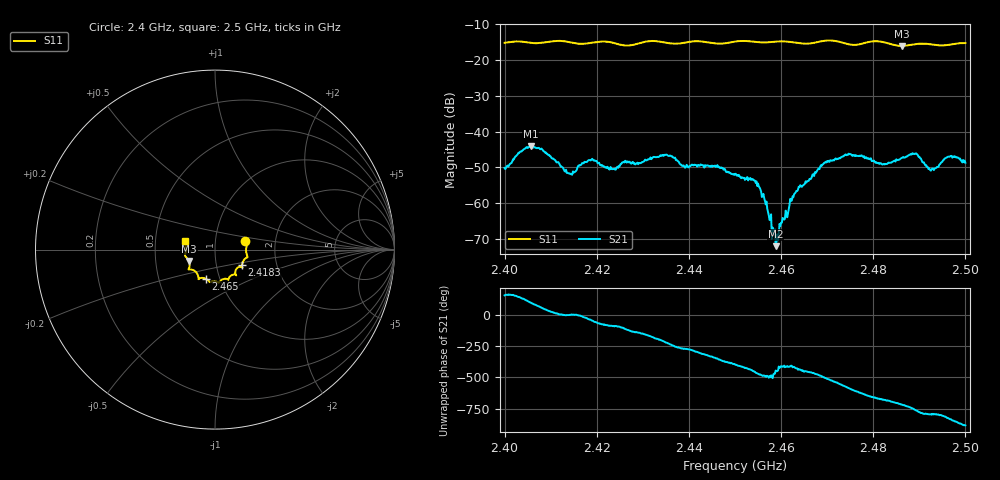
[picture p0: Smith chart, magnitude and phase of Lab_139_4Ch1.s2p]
# Hz S RI R 50
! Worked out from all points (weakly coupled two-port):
!   601 points, 2.4 GHz to 2.5 GHz, reference 50 ohm
!   highest |S21| = -44.12 dB at 2.4057 GHz (marker M1); lowest = -72.1 dB at 2.4588 GHz (marker M2)
!   lowest |S11| = -16.0 dB at 2.4862 GHz (marker M3), VSWR 1.38, Z = 37.1 - j4.83 ohm
!   |S11| at or under -10 dB: start of sweep to end of sweep
!   S12 and S22 are empty: the file has one direction only
!   S11 on the Smith chart (normalised r, x): 2.4 GHz: 1.40, +0.13; 2.4183 GHz: 1.33, -0.24; 2.465 GHz: 0.86, -0.29; 2.5 GHz: 0.71, +0.07
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2.4e9  0.1689 0.0459  -0.00278 0.00134  0 0  0 0
2.405667e9  0.1743 0.0125  -0.000728 0.00618  0 0  0 0
2.414e9  0.1725 -0.0472  0.00258 -0.000132  0 0  0 0
2.416667e9  0.1551 -0.0683  0.00339 -0.000728  0 0  0 0
2.418333e9  0.15 -0.0868  0.00313 -0.00245  0 0  0 0
2.423667e9  0.1448 -0.097  2.07e-05 -0.00299  0 0  0 0
2.433333e9  0.1165 -0.1412  -0.00424 0.00111  0 0  0 0
2.45e9  0.0254 -0.1805  0.00203 -0.00154  0 0  0 0
2.454833e9  0.00877 -0.179  -0.000533 -0.00164  0 0  0 0
2.4565e9  -0.00546 -0.1772  -0.000667 -0.000836  0 0  0 0
2.458833e9  -0.0231 -0.1802  1.77e-05 -0.000247  0 0  0 0
2.4625e9  -0.0341 -0.175  0.000625 -0.00107  0 0  0 0
2.465e9  -0.0526 -0.1621  -0.000137 -0.00181  0 0  0 0
2.466667e9  -0.0711 -0.1575  -0.00049 -0.00226  0 0  0 0
2.4695e9  -0.0911 -0.1635  -0.00299 -0.0021  0 0  0 0
2.4745e9  -0.0983 -0.1361  -0.00339 0.00328  0 0  0 0
2.483333e9  -0.1421 -0.096  0.00305 0.00206  0 0  0 0
2.486167e9  -0.1447 -0.0635  0.00426 0.000284  0 0  0 0
2.489167e9  -0.1635 -0.0398  0.0037 -0.00324  0 0  0 0
2.492667e9  -0.1648 -0.0226  0.00066 -0.00288  0 0  0 0
2.4965e9  -0.1627 0.022  -0.00162 -0.00413  0 0  0 0
2.5e9  -0.167 0.0474  -0.00351 -0.00103  0 0  0 0
